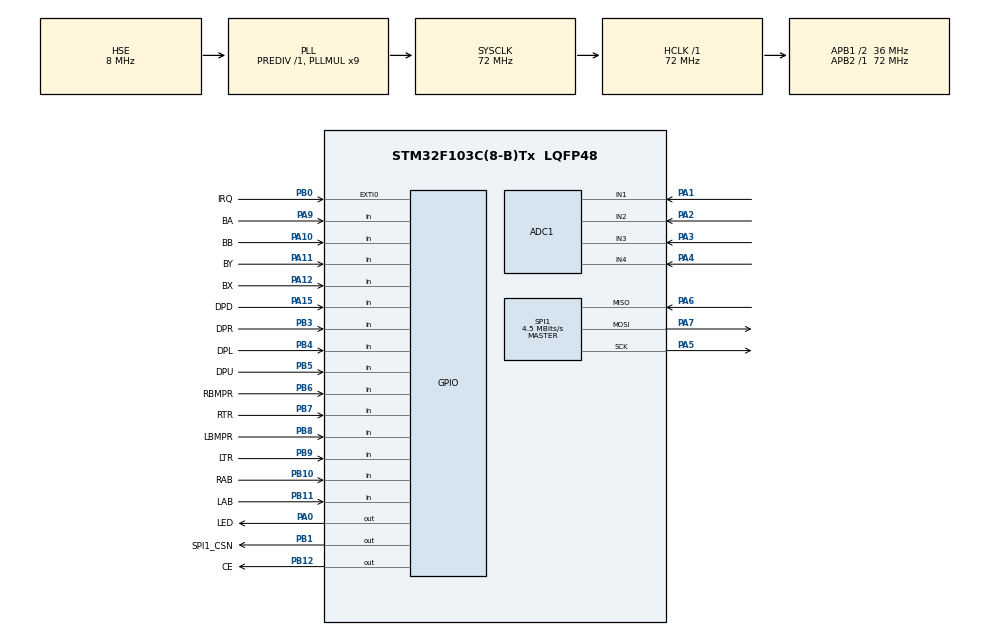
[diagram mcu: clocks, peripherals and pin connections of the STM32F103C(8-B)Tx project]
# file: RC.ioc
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ADC1.Channel-6\#ChannelRegularConversion=ADC_CHANNEL_1
ADC1.Channel-7\#ChannelRegularConversion=ADC_CHANNEL_2
ADC1.Channel-8\#ChannelRegularConversion=ADC_CHANNEL_3
ADC1.Channel-9\#ChannelRegularConversion=ADC_CHANNEL_4
ADC1.ContinuousConvMode=ENABLE
ADC1.EnableRegularConversion=ENABLE
ADC1.NbrOfConversion=4
ADC1.NbrOfConversionFlag=1
ADC1.Rank-6\#ChannelRegularConversion=1
ADC1.Rank-7\#ChannelRegularConversion=2
ADC1.Rank-8\#ChannelRegularConversion=3
ADC1.Rank-9\#ChannelRegularConversion=4
ADC1.SamplingTime-6\#ChannelRegularConversion=ADC_SAMPLETIME_55CYCLES_5
ADC1.SamplingTime-7\#ChannelRegularConversion=ADC_SAMPLETIME_55CYCLES_5
ADC1.SamplingTime-8\#ChannelRegularConversion=ADC_SAMPLETIME_55CYCLES_5
ADC1.SamplingTime-9\#ChannelRegularConversion=ADC_SAMPLETIME_55CYCLES_5
ADC1.master=1
Dma.ADC1.0.Direction=DMA_PERIPH_TO_MEMORY
Dma.ADC1.0.Instance=DMA1_Channel1
Dma.ADC1.0.MemDataAlignment=DMA_MDATAALIGN_HALFWORD
Dma.ADC1.0.MemInc=DMA_MINC_ENABLE
Dma.ADC1.0.Mode=DMA_CIRCULAR
Dma.ADC1.0.PeriphDataAlignment=DMA_PDATAALIGN_HALFWORD
Dma.ADC1.0.PeriphInc=DMA_PINC_DISABLE
Dma.ADC1.0.Priority=DMA_PRIORITY_HIGH
Dma.Request0=ADC1
Mcu.Family=STM32F1
Mcu.Name=STM32F103C(8-B)Tx
Mcu.Package=LQFP48
NVIC.ADC1_2_IRQn=true\:0\:0\:false\:false\:true\:true\:true\:true
NVIC.DMA1_Channel1_IRQn=true\:0\:0\:false\:false\:true\:false\:true\:true
NVIC.EXTI0_IRQn=true\:0\:0\:false\:false\:true\:true\:true\:true
NVIC.PriorityGroup=NVIC_PRIORITYGROUP_4
NVIC.SPI1_IRQn=true\:0\:0\:false\:false\:true\:true\:true\:true
NVIC.TIM2_IRQn=true\:0\:0\:false\:false\:true\:true\:true\:true
PA0-WKUP.GPIO_Label=LED
PA0-WKUP.Signal=GPIO_Output
PA1.Signal=ADCx_IN1
PA10.GPIO_Label=BB
PA10.GPIO_PuPd=GPIO_PULLUP
PA10.Signal=GPIO_Input
PA11.GPIO_Label=BY
PA11.GPIO_PuPd=GPIO_PULLUP
PA11.Signal=GPIO_Input
PA12.GPIO_Label=BX
PA12.GPIO_PuPd=GPIO_PULLUP
PA12.Signal=GPIO_Input
PA13.Mode=Serial_Wire
PA13.Signal=SYS_JTMS-SWDIO
PA14.Mode=Serial_Wire
PA14.Signal=SYS_JTCK-SWCLK
PA15.GPIO_Label=DPD
PA15.GPIO_PuPd=GPIO_PULLUP
PA15.Signal=GPIO_Input
PA2.Signal=ADCx_IN2
PA3.Signal=ADCx_IN3
PA4.Signal=ADCx_IN4
PA5.Mode=Full_Duplex_Master
PA5.Signal=SPI1_SCK
PA6.Mode=Full_Duplex_Master
PA6.Signal=SPI1_MISO
PA7.Mode=Full_Duplex_Master
PA7.Signal=SPI1_MOSI
PA9.GPIO_Label=BA
PA9.GPIO_PuPd=GPIO_PULLUP
PA9.Signal=GPIO_Input
PB0.GPIO_Label=IRQ
PB0.GPIO_ModeDefaultEXTI=GPIO_MODE_IT_FALLING
PB0.Signal=GPXTI0
PB1.GPIO_Label=SPI1_CSN
PB1.GPIO_Speed=GPIO_SPEED_FREQ_HIGH
PB1.PinState=GPIO_PIN_SET
PB1.Signal=GPIO_Output
PB10.GPIO_Label=RAB
PB10.GPIO_Mode=GPIO_MODE_INPUT
PB10.GPIO_PuPd=GPIO_PULLUP
PB10.Signal=GPIO_Input
PB11.GPIO_Label=LAB
PB11.GPIO_Mode=GPIO_MODE_INPUT
PB11.GPIO_PuPd=GPIO_PULLUP
PB11.Signal=GPIO_Input
PB12.GPIO_Label=CE
PB12.Signal=GPIO_Output
PB3.GPIO_Label=DPR
PB3.GPIO_PuPd=GPIO_PULLUP
PB3.Signal=GPIO_Input
PB4.GPIO_Label=DPL
PB4.GPIO_PuPd=GPIO_PULLUP
PB4.Signal=GPIO_Input
PB5.GPIO_Label=DPU
PB5.GPIO_PuPd=GPIO_PULLUP
PB5.Signal=GPIO_Input
PB6.GPIO_Label=RBMPR
PB6.GPIO_PuPd=GPIO_PULLUP
PB6.Signal=GPIO_Input
PB7.GPIO_Label=RTR
PB7.GPIO_PuPd=GPIO_PULLUP
PB7.Signal=GPIO_Input
PB8.GPIO_Label=LBMPR
PB8.GPIO_PuPd=GPIO_PULLUP
PB8.Signal=GPIO_Input
PB9.GPIO_Label=LTR
PB9.GPIO_PuPd=GPIO_PULLUP
PB9.Signal=GPIO_Input
PD0-OSC_IN.Mode=HSE-External-Oscillator
PD0-OSC_IN.Signal=RCC_OSC_IN
PD1-OSC_OUT.Mode=HSE-External-Oscillator
PD1-OSC_OUT.Signal=RCC_OSC_OUT
ProjectManager.HeapSize=0x200
ProjectManager.StackSize=0x400
ProjectManager.TargetToolchain=STM32CubeIDE
RCC.ADCPresc=RCC_ADCPCLK2_DIV6
RCC.AHBFreq_Value=72000000
RCC.APB1CLKDivider=RCC_HCLK_DIV2
RCC.APB1Freq_Value=36000000
RCC.APB1TimFreq_Value=72000000
RCC.APB2Freq_Value=72000000
RCC.APB2TimFreq_Value=72000000
RCC.HCLKFreq_Value=72000000
RCC.PLLMUL=RCC_PLL_MUL9
RCC.PLLSourceVirtual=RCC_PLLSOURCE_HSE
RCC.SYSCLKFreq_VALUE=72000000
RCC.SYSCLKSource=RCC_SYSCLKSOURCE_PLLCLK
RCC.USBFreq_Value=72000000
SH.ADCx_IN1.0=ADC1_IN1,IN1
SH.ADCx_IN2.0=ADC1_IN2,IN2
SH.ADCx_IN3.0=ADC1_IN3,IN3
SH.ADCx_IN4.0=ADC1_IN4,IN4
SPI1.BaudRatePrescaler=SPI_BAUDRATEPRESCALER_16
SPI1.CalculateBaudRate=4.5 MBits/s
SPI1.Direction=SPI_DIRECTION_2LINES
SPI1.Mode=SPI_MODE_MASTER
SPI1.VirtualType=VM_MASTER
TIM2.Period=1999
TIM2.Prescaler=719
VP_TIM2_VS_ClockSourceINT.Mode=Internal
board=custom

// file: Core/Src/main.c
/* USER CODE BEGIN Header */
/**
  ******************************************************************************
  * @file           : main.c
  * @brief          : Main program body
  ******************************************************************************
  * @attention
  *
  * Copyright (c) 2025 STMicroelectronics.
  * All rights reserved.
  *
  * This software is licensed under terms that can be found in the LICENSE file
  * in the root directory of this software component.
  * If no LICENSE file comes with this software, it is provided AS-IS.
  *
  ******************************************************************************
  */
/* USER CODE END Header */
#include "main.h"
#include "adc.h"
#include "dma.h"
#include "spi.h"
#include "tim.h"
#include "gpio.h"

/* USER CODE BEGIN Includes */
#include "nrf24l01p.h"
#include <stdlib.h>  // Dodano dla funkcji abs
/* USER CODE END Includes */

/* USER CODE BEGIN PTD */
GPIO_TypeDef* button_ports[] = {GPIOB, GPIOB, GPIOB, GPIOB, GPIOB, GPIOB, GPIOB, GPIOA, GPIOA, GPIOA, GPIOA, GPIOA, GPIOB, GPIOB};
uint16_t button_pins[] = {GPIO_PIN_9, GPIO_PIN_8, GPIO_PIN_7, GPIO_PIN_6, GPIO_PIN_5, GPIO_PIN_4, GPIO_PIN_3, GPIO_PIN_15, GPIO_PIN_12, GPIO_PIN_11, GPIO_PIN_10, GPIO_PIN_9, GPIO_PIN_10, GPIO_PIN_11};

typedef struct {
    uint8_t state;    // 0 = niewciśnięty, 1 = wciśnięty
    uint8_t counter;  // Licznik dla debouncingu
} ButtonState;

typedef struct {
    int8_t left_x;    // Bajt 1
    int8_t left_y;    // Bajt 2
    int8_t right_x;   // Bajt 3
    int8_t right_y;   // Bajt 4
    uint16_t buttons; // Bajty 5-6 (14 bitów użytych)
} ControllerData;
/* USER CODE END PTD */

/* USER CODE BEGIN PD */
#define DEBOUNCE_THRESHOLD 3  // 3 próbki przy 100 Hz = 30 ms debouncing
#define DEADZONE 10           // Domyślny deadzone w skali int8_t
#define LED_ON_DURATION 50    // 50 * 10 ms = 500 ms
/* USER CODE END PD */

/* USER CODE BEGIN PV */
uint16_t adc_values[4];
ButtonState button_states[14];
ControllerData controller_data = {0};
uint8_t led_counter = 0;
/* USER CODE END PV */

void SystemClock_Config(void);

/* USER CODE BEGIN 0 */

// Funkcja mapowania ADC na int8_t z deadzone
int8_t map_adc_to_int8(uint16_t adc, uint8_t deadzone) {
    int16_t temp = ((int32_t)adc - 2048) * 100 / 2048;  // Mapowanie 0-4095 na -100 do 100
    if (temp > 100) temp = 99;                         // Ograniczenie do 100
    if (temp < -100) temp = -99;                       // Ograniczenie do -100
    if (abs(temp) < deadzone) temp = 0;                 // Zastosowanie martwej strefy
    return (int8_t)temp;
}
/* USER CODE END 0 */

int main(void)
{

  /* MCU Configuration--------------------------------------------------------*/

  /* Reset of all peripherals, Initializes the Flash interface and the Systick. */
  HAL_Init();

  /* Configure the system clock */
  SystemClock_Config();

  /* Initialize all configured peripherals */
  MX_GPIO_Init();
  MX_DMA_Init();
  MX_ADC1_Init();
  MX_SPI1_Init();
  MX_TIM2_Init();

  /* Infinite loop */
  /* USER CODE BEGIN WHILE */
  HAL_TIM_Base_Start_IT(&htim2);
  HAL_ADC_Start_DMA(&hadc1, (uint32_t*)adc_values, 4);
  nrf24l01p_tx_init(2402, 0);
//  controller_data.left_x = 120;
//  controller_data.left_y = 120;
//  controller_data.right_x = 120;
//  controller_data.left_x = 120;
//  controller_data.buttons = 0xFFFF;
//  HAL_Delay(1000);
//  transmit_controller_data(&controller_data);
  while (1)
  {
    /* USER CODE END WHILE */

  }
}

void SystemClock_Config(void)
{
  RCC_OscInitTypeDef RCC_OscInitStruct = {0};
  RCC_ClkInitTypeDef RCC_ClkInitStruct = {0};
  RCC_PeriphCLKInitTypeDef PeriphClkInit = {0};

  /** Initializes the RCC Oscillators according to the specified parameters
  * in the RCC_OscInitTypeDef structure.
  */
  RCC_OscInitStruct.OscillatorType = RCC_OSCILLATORTYPE_HSE;
  RCC_OscInitStruct.HSEState = RCC_HSE_ON;
  RCC_OscInitStruct.HSEPredivValue = RCC_HSE_PREDIV_DIV1;
  RCC_OscInitStruct.HSIState = RCC_HSI_ON;
  RCC_OscInitStruct.PLL.PLLState = RCC_PLL_ON;
  RCC_OscInitStruct.PLL.PLLSource = RCC_PLLSOURCE_HSE;
  RCC_OscInitStruct.PLL.PLLMUL = RCC_PLL_MUL9;
  if (HAL_RCC_OscConfig(&RCC_OscInitStruct) != HAL_OK)
  {
    Error_Handler();
  }

  /** Initializes the CPU, AHB and APB buses clocks
  */
  RCC_ClkInitStruct.ClockType = RCC_CLOCKTYPE_HCLK|RCC_CLOCKTYPE_SYSCLK
                              |RCC_CLOCKTYPE_PCLK1|RCC_CLOCKTYPE_PCLK2;
  RCC_ClkInitStruct.SYSCLKSource = RCC_SYSCLKSOURCE_PLLCLK;
  RCC_ClkInitStruct.AHBCLKDivider = RCC_SYSCLK_DIV1;
  RCC_ClkInitStruct.APB1CLKDivider = RCC_HCLK_DIV2;
  RCC_ClkInitStruct.APB2CLKDivider = RCC_HCLK_DIV1;

  if (HAL_RCC_ClockConfig(&RCC_ClkInitStruct, FLASH_LATENCY_2) != HAL_OK)
  {
    Error_Handler();
  }
  PeriphClkInit.PeriphClockSelection = RCC_PERIPHCLK_ADC;
  PeriphClkInit.AdcClockSelection = RCC_ADCPCLK2_DIV6;
  if (HAL_RCCEx_PeriphCLKConfig(&PeriphClkInit) != HAL_OK)
  {
    Error_Handler();
  }
}

/* USER CODE BEGIN 4 */
void transmit_controller_data(ControllerData* data) {
    // Cast the struct to a uint8_t* and pass it to the NRF24L01 transmit function
    nrf24l01p_tx_transmit((uint8_t*)data);
    HAL_GPIO_WritePin(GPIOA, GPIO_PIN_0, GPIO_PIN_SET);  // Zapal diodę zawsze
    led_counter = LED_ON_DURATION;  // Świeć przez np. 500ms
}

void HAL_GPIO_EXTI_Callback(uint16_t GPIO_PIN)
{
}

void HAL_TIM_PeriodElapsedCallback(TIM_HandleTypeDef *htim) {
    if (htim->Instance == TIM2) {
        // Odczyt i debouncing przycisków
        uint16_t new_buttons = 0;
        for (int i = 0; i < 14; i++) {
            uint8_t input = (HAL_GPIO_ReadPin(button_ports[i], button_pins[i]) == GPIO_PIN_RESET) ? 1 : 0;
            if (button_states[i].state == input) {
                button_states[i].counter = 0;
            } else {
                button_states[i].counter++;
                if (button_states[i].counter >= DEBOUNCE_THRESHOLD) {
                    button_states[i].state = input;
                    button_states[i].counter = 0;
                }
            }
            new_buttons |= (button_states[i].state << i);
        }

        // Odczyt i mapowanie wartości ADC
        int8_t new_left_x = map_adc_to_int8(adc_values[1], 0);
        int8_t new_left_y = map_adc_to_int8(adc_values[0], 0);
        int8_t new_right_y = map_adc_to_int8(adc_values[3], 0);
        int8_t new_right_x = map_adc_to_int8(adc_values[2], 0);

        // Wykrywanie zmian (triggery dla LED)
        bool trigger = false;
        if ((new_buttons & ~controller_data.buttons) != 0) trigger = true; // Wciśnięcie przycisku
        if (new_left_x != controller_data.left_x) trigger = true;
        if (new_left_y != controller_data.left_y) trigger = true;
        if (new_right_x != controller_data.right_x) trigger = true;
        if (new_right_y != controller_data.right_y) trigger = true;

        // Aktualizacja globalnej struktury
        controller_data.left_x = new_left_x;
        controller_data.left_y = new_left_y;
        controller_data.right_x = new_right_x;
        controller_data.right_y = new_right_y;
        controller_data.buttons = new_buttons;
        transmit_controller_data(&controller_data);
        // Sterowanie LED
        if (led_counter > 0) {
                    led_counter--;
                    if (led_counter == 0) {
                        HAL_GPIO_WritePin(GPIOA, GPIO_PIN_0, GPIO_PIN_RESET);  // Wyłącz LED
                    }
                }

    }
}

/* USER CODE END 4 */

void Error_Handler(void)
{
  __disable_irq();
  while (1)
  {
  }
}
